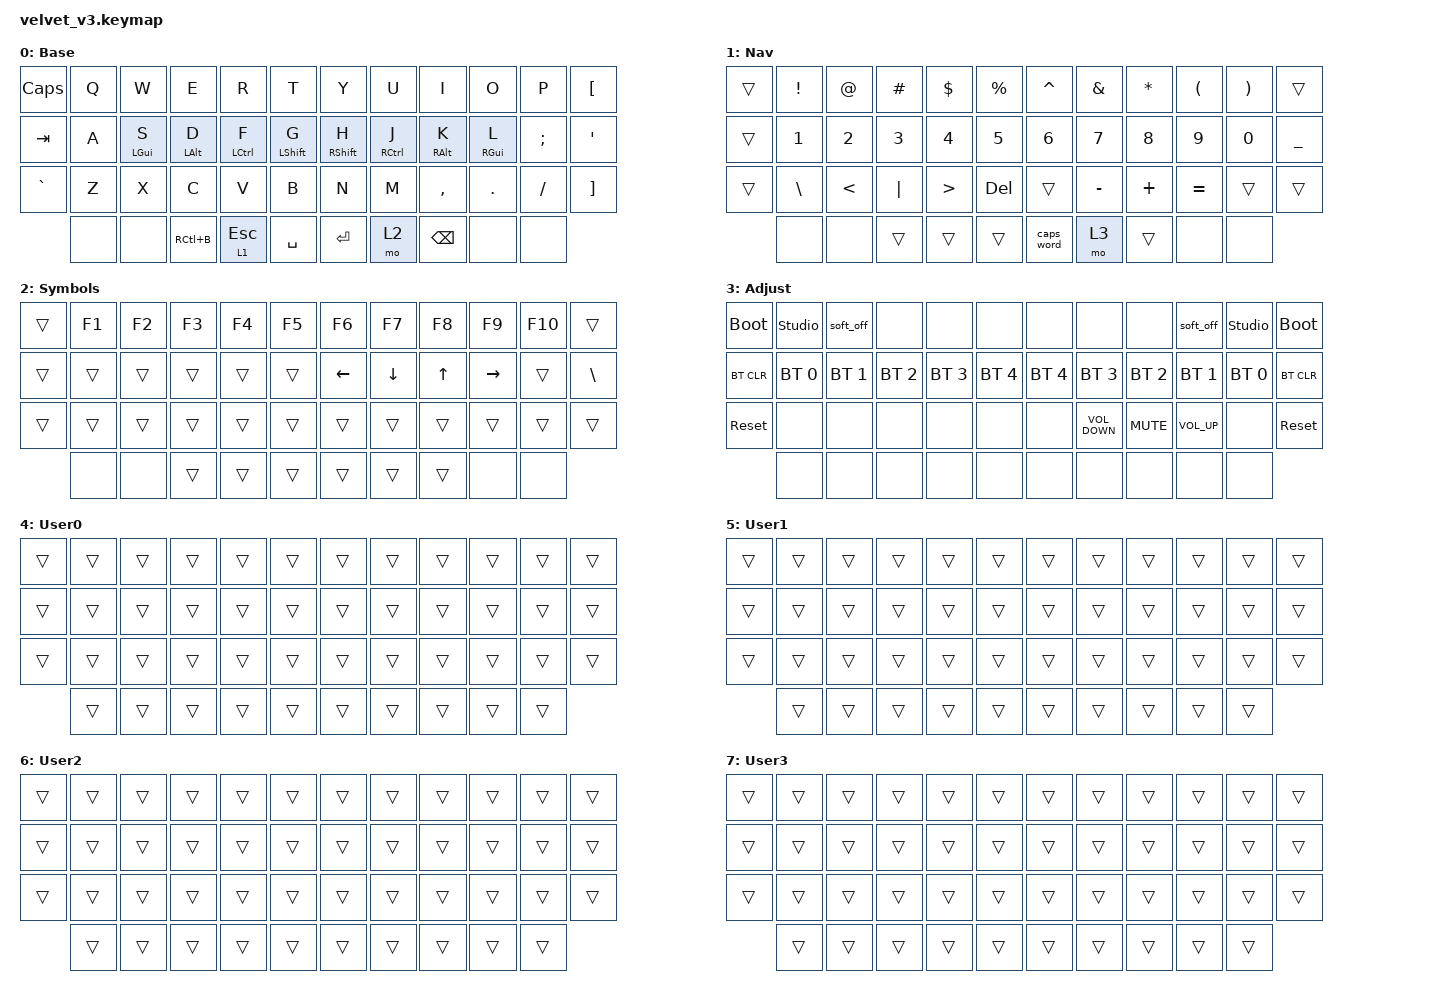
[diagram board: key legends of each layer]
#include "keys_ru.h"
#include <behaviors.dtsi>
#include <dt-bindings/zmk/bt.h>
#include <dt-bindings/zmk/keys.h>
#include <dt-bindings/zmk/outputs.h>

/ {
    keymap {
        compatible = "zmk,keymap";

        base {
            bindings = <
&kp CAPS   &kp Q  &kp W       &kp E       &kp R        &kp T        &kp Y            &kp U        &kp I       &kp O       &kp P     &kp LBKT
&kp TAB    &kp A  &mt LGUI S  &mt LALT D  &mt LCTRL F  &mt LSHFT G  &mt RSHFT H      &mt RCTRL J  &mt RALT K  &mt RGUI L  &kp SEMI  &kp SQT
&kp GRAVE  &kp Z  &kp X       &kp C       &kp V        &kp B        &kp N            &kp M        &kp COMMA   &kp DOT     &kp FSLH  &kp RBKT
           &none  &none       &kp RC(B)   &lt 1 ESC    &kp SPACE    &kp RETURN       &mo 2        &kp BSPC    &none       &none
            >;

            display-name = "Base";
        };

        nav {
            bindings = <
&trans  &kp EXCL  &kp AT  &kp HASH  &kp DLLR  &kp PRCNT &kp CARET   &kp AMPS   &kp ASTRK  &kp LPAR   &kp RPAR  &trans
&trans  &kp N1    &kp N2  &kp N3    &kp N4    &kp N5    &kp N6      &kp N7     &kp N8     &kp N9     &kp N0    &kp UNDERSCORE
&trans  &kp BSLH  &kp LT  &kp PIPE  &kp GT    &kp DEL   &trans      &kp MINUS  &kp PLUS   &kp EQUAL  &trans    &trans
        &none     &none   &trans    &trans    &trans    &caps_word  &mo 3      &trans     &none      &none
            >;

            display-name = "Nav";
        };

        sym {
            bindings = <
&trans  &kp F1  &kp F2  &kp F3  &kp F4  &kp F5  &kp F6    &kp F7    &kp F8  &kp F9     &kp F10  &trans
&trans  &trans  &trans  &trans  &trans  &trans  &kp LEFT  &kp DOWN  &kp UP  &kp RIGHT  &trans   &kp BSLH
&trans  &trans  &trans  &trans  &trans  &trans  &trans    &trans    &trans  &trans     &trans   &trans
        &none   &none   &trans  &trans  &trans  &trans    &trans    &trans  &none      &none
            >;

            display-name = "Symbols";
        };

        adj {
            bindings = <
&bootloader &studio_unlock &soft_off    &none        &none        &none        &none        &none             &none        &soft_off       &studio_unlock &bootloader
&bt BT_CLR  &bt BT_SEL 0   &bt BT_SEL 1 &bt BT_SEL 2 &bt BT_SEL 3 &bt BT_SEL 4 &bt BT_SEL 4 &bt BT_SEL 3      &bt BT_SEL 2 &bt BT_SEL 1    &bt BT_SEL 0   &bt BT_CLR
&sys_reset  &none          &none        &none        &none        &none        &none        &kp K_VOLUME_DOWN &kp K_MUTE   &kp K_VOLUME_UP &none          &sys_reset
            &none          &none        &none        &none        &none        &none        &none             &none        &none           &none
            >;

            display-name = "Adjust";
        };

        User0 {
            bindings = <
&trans  &trans  &trans  &trans  &trans  &trans                    &trans  &trans  &trans  &trans  &trans  &trans
&trans  &trans  &trans  &trans  &trans  &trans                    &trans  &trans  &trans  &trans  &trans  &trans
&trans  &trans  &trans  &trans  &trans  &trans                    &trans  &trans  &trans  &trans  &trans  &trans
                &trans  &trans  &trans  &trans  &trans    &trans  &trans  &trans  &trans  &trans
            >;

            display-name = "User0";
        };

        User1 {
            bindings = <
&trans  &trans  &trans  &trans  &trans  &trans                    &trans  &trans  &trans  &trans  &trans  &trans
&trans  &trans  &trans  &trans  &trans  &trans                    &trans  &trans  &trans  &trans  &trans  &trans
&trans  &trans  &trans  &trans  &trans  &trans                    &trans  &trans  &trans  &trans  &trans  &trans
                &trans  &trans  &trans  &trans  &trans    &trans  &trans  &trans  &trans  &trans
            >;

            display-name = "User1";
        };

        User2 {
            bindings = <
&trans  &trans  &trans  &trans  &trans  &trans                    &trans  &trans  &trans  &trans  &trans  &trans
&trans  &trans  &trans  &trans  &trans  &trans                    &trans  &trans  &trans  &trans  &trans  &trans
&trans  &trans  &trans  &trans  &trans  &trans                    &trans  &trans  &trans  &trans  &trans  &trans
                &trans  &trans  &trans  &trans  &trans    &trans  &trans  &trans  &trans  &trans
            >;

            display-name = "User2";
        };

        User3 {
            bindings = <
&trans  &trans  &trans  &trans  &trans  &trans                    &trans  &trans  &trans  &trans  &trans  &trans
&trans  &trans  &trans  &trans  &trans  &trans                    &trans  &trans  &trans  &trans  &trans  &trans
&trans  &trans  &trans  &trans  &trans  &trans                    &trans  &trans  &trans  &trans  &trans  &trans
                &trans  &trans  &trans  &trans  &trans    &trans  &trans  &trans  &trans  &trans
            >;

            display-name = "User3";
        };
    };
};
